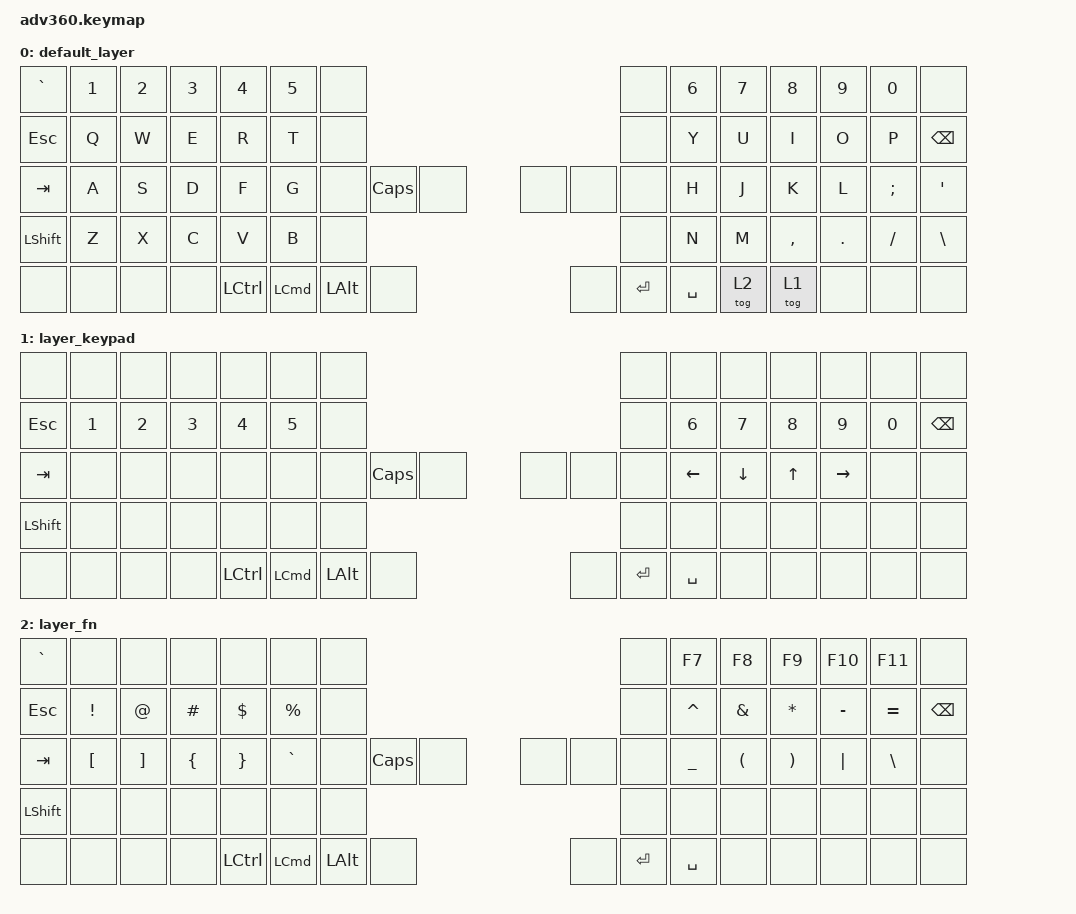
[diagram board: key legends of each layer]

/*
 * Copyright (c) 2020 The ZMK Contributors
 *
 * SPDX-License-Identifier: MIT
 */


/* THIS FILE WAS GENERATED!
 *
 * This file was generated automatically. You may or may not want to
 * edit it directly.
 */

#include <behaviors.dtsi>
#include <dt-bindings/zmk/keys.h>

/ {
  behaviors {
    #include "macros.dtsi"
    #include "version.dtsi"

    hm: homerow_mods {
        compatible = "zmk,behavior-hold-tap";
        label = "HOMEROW_MODS";
        #binding-cells = <2>;
        tapping-term-ms = <200>;
        quick_tap_ms = <175>;
        flavor = "tap-preferred";
        bindings = <&kp>, <&kp>;
    };
  };

    keymap {
        compatible = "zmk,keymap";


        default_layer {
            bindings = <
 &kp GRAVE  &kp N1  &kp N2  &kp N3            &kp N4  &kp N5                       &none                                                               &none  &kp N6  &kp N7     &kp N8   &kp N9    &kp N0          &none
   &kp ESC   &kp Q   &kp W   &kp E             &kp R   &kp T                       &none                                                               &none   &kp Y   &kp U      &kp I    &kp O     &kp P  &kp BACKSPACE
   &kp TAB   &kp A   &kp S   &kp D             &kp F   &kp G                       &none  &kp CAPSLOCK   &none                   &none      &none      &none   &kp H   &kp J      &kp K    &kp L  &kp SEMI        &kp SQT
 &kp LSHFT   &kp Z   &kp X   &kp C             &kp V   &kp B                                             &none                   &none                         &kp N   &kp M  &kp COMMA  &kp DOT  &kp FSLH       &kp BSLH
     &none   &none   &none   &none  &kp LEFT_CONTROL                    &kp LEFT_COMMAND  &kp LEFT_ALT   &none                   &none  &kp ENTER  &kp SPACE          &tog 2     &tog 1    &none     &none          &none
            >;
        };

        layer_keypad {
            bindings = <
     &none   &none   &none   &none             &none   &none                       &none                                                               &none     &none     &none   &none      &none   &none          &none
   &kp ESC  &kp N1  &kp N2  &kp N3            &kp N4  &kp N5                       &none                                                               &none    &kp N6    &kp N7  &kp N8     &kp N9  &kp N0  &kp BACKSPACE
   &kp TAB   &none   &none   &none             &none   &none                       &none  &kp CAPSLOCK   &none                   &none      &none      &none  &kp LEFT  &kp DOWN  &kp UP  &kp RIGHT   &none          &none
 &kp LSHFT   &none   &none   &none             &none   &none                                             &none                   &none                           &none     &none   &none      &none   &none          &none
     &none   &none   &none   &none  &kp LEFT_CONTROL                    &kp LEFT_COMMAND  &kp LEFT_ALT   &none                   &none  &kp ENTER  &kp SPACE               &none   &none      &none   &none          &none
            >;
        };

        layer_fn {
            bindings = <
      &kp GRAVE     &none     &none     &none             &none        &none                       &none                                                               &none     &kp F7         &kp F8        &kp F9    &kp F10    &kp F11          &none
        &kp ESC  &kp EXCL    &kp AT  &kp HASH        &kp DOLLAR  &kp PERCENT                       &none                                                               &none  &kp CARET  &kp AMPERSAND  &kp ASTERISK  &kp MINUS  &kp EQUAL  &kp BACKSPACE
        &kp TAB  &kp LBKT  &kp RBKT  &kp LBRC          &kp RBRC    &kp GRAVE                       &none  &kp CAPSLOCK   &none                   &none      &none      &none  &kp UNDER       &kp LPAR      &kp RPAR   &kp PIPE   &kp BSLH          &none
 &kp LEFT_SHIFT     &none     &none     &none             &none        &none                                             &none                   &none                            &none          &none         &none      &none      &none          &none
          &none     &none     &none     &none  &kp LEFT_CONTROL                         &kp LEFT_COMMAND  &kp LEFT_ALT   &none                   &none  &kp ENTER  &kp SPACE                     &none         &none      &none      &none          &none
            >;
        };

    };
};
